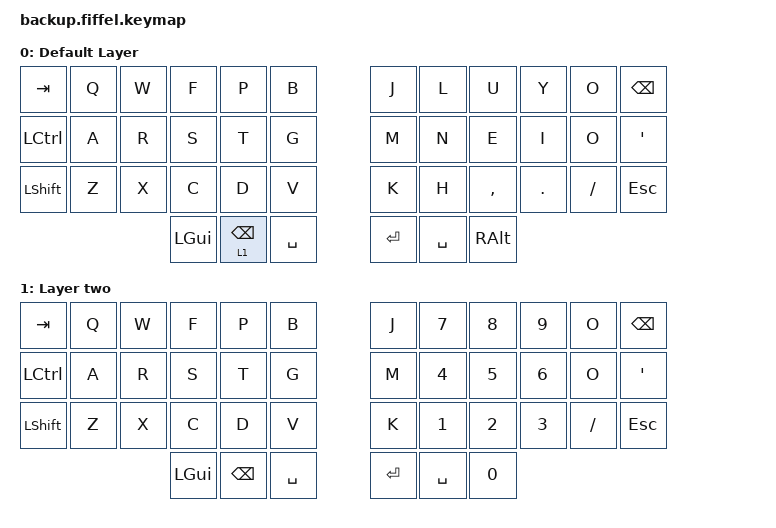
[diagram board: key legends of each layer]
#include <behaviors.dtsi>
#include <dt-bindings/zmk/keys.h>
#include <dt-bindings/zmk/bt.h>

/ {
  combos {
    compatible = "zmk,combos";

    combo_esc {
      timeout-ms = <50>;
      key-positions = <0 1>;
      bindings = <&kp ESC>;
    };

    combo_ret_i_oe {
      timeout-ms = <50>;
      key-positions = <2 3>;
      bindings = <&kp SCLN>;   // 'ö' på svensk layout
    };

    combo_right_shift {
      timeout-ms = <50>;
      key-positions = <15 16>;
      bindings = <&kp RSFT>;   // höger shift
    };
    combo_tick {
      timeout-ms = <50>;
      key-positions = <8 19>;
      bindings = <&kp BSLH>;  
    };
  };
        



  keymap {
    compatible = "zmk,keymap";
    default_layer {
      display-name = "Default Layer";
      // -----------------------------------------------------------------------------------------
      // |  TAB |  Q  |  W  |  E  |  R  |  T  |   |  Y  |  U   |  I  |  O  |  P  | BSPC |
      // | CTRL |  A  |  S  |  D  |  F  |  G  |   |  H  |  J   |  K  |  L  |  ;  |  '   |
      // | SHFT |  Z  |  X  |  C  |  V  |  B  |   |  N  |  M   |  ,  |  .  |  /  | ESC  |
      //                    | GUI | LWR | SPC |   | ENT | RSE  | ALT |
      bindings = <
         &kp TAB   &kp Q &kp W &kp F &kp P &kp B   &kp J &kp L  &kp U     &kp Y   &kp O    &kp BSPC
         &kp LCTRL &kp A &kp R &kp S &kp T &kp G   &kp M &kp N  &kp E     &kp I   &kp O    &kp SQT
         &kp LSHFT &kp Z &kp X &kp C &kp D &kp V   &kp K &kp H  &kp COMMA &kp DOT &kp FSLH &kp ESC
                     &kp LGUI &lt 1 BSPC &kp SPACE   &kp RET &kp SPACE &kp RALT
                      /* &kp LGUI &none &kp SPACE   &kp RET &none &kp RALT */
      >;
    };
    layer_two {
      display-name = "Layer two";
      // -----------------------------------------------------------------------------------------
      // |  TAB |  Q  |  W  |  E  |  R  |  T  |   |  Y  |  U   |  I  |  O  |  P  | BSPC |
      // | CTRL |  A  |  S  |  D  |  F  |  G  |   |  H  |  J   |  K  |  L  |  ;  |  '   |
      // | SHFT |  Z  |  X  |  C  |  V  |  B  |   |  N  |  M   |  ,  |  .  |  /  | ESC  |
      //                    | GUI | LWR | SPC |   | ENT | RSE  | ALT |
      bindings = <
         &kp TAB   &kp Q &kp W &kp F &kp P &kp B   &kp J &kp N7  &kp N8  &kp N9  &kp O    &kp BSPC
         &kp LCTRL &kp A &kp R &kp S &kp T &kp G   &kp M &kp N4  &kp N5  &kp N6  &kp O    &kp SQT
         &kp LSHFT &kp Z &kp X &kp C &kp D &kp V   &kp K &kp N1  &kp N2  &kp N3  &kp FSLH &kp ESC
                     &kp LGUI &kp BSPC &kp SPACE   &kp RET &kp SPACE &kp N0
                      /* &kp LGUI &none &kp SPACE   &kp RET &none &kp RALT */
      >;
    };

  };
};




/*    // Copyright (c) 2022 The ZMK Contributors */
/* // SPDX-License-Identifier: MIT */
/**/
/* #include <behaviors.dtsi> */
/* #include <dt-bindings/zmk/keys.h> */
/* #include <dt-bindings/zmk/bt.h> */
/* // #include <symbols.dtsi> */
/* #include "keys_sv.h" */
/**/
/* // Home row mods macro */
/* #define HRML(k1,k2,k3,k4) &ht LSHFT k1  &ht LALT k2  &ht LCTRL k3  &ht LGUI k4 */
/* #define HRMR(k1,k2,k3,k4) &ht RGUI k1  &ht RCTRL k2  &ht RALT k3  &ht RSHFT k4 */
/**/
/* &lt { */
/*     tapping-term-ms = <150>; */
/* }; */
/**/
/* / { */
/*     behaviors { */
/*         ht: hold_tap { */
/*             compatible = "zmk,behavior-hold-tap"; */
/*             #binding-cells = <2>; */
/*             flavor = "tap-preferred"; */
/*             tapping-term-ms = <220>; */
/*             quick-tap-ms = <150>; */
/*             require-prior-idle-ms = <100>; */
/*             bindings = <&kp>, <&kp>; */
/*         }; */
/*     }; */
/**/
/*     combos { */
/*         compatible = "zmk,combos"; */
/*         combo_esc { */
/*             timeout-ms = <50>; */
/*             key-positions = <10 11>; */
/*             bindings = <&kp ESC>; */
/*         }; */
/*         combo_tab { */
/*             timeout-ms = <50>; */
/*             key-positions = <0 1>; */
/*             bindings = <&kp TAB>; */
/*         }; */
/*         combo_sticky_shift { */
/*             timeout-ms = <50>; */
/*             key-positions = <20 21>; */
/*             bindings = <&sk LSHFT>; */
/*         }; */
/*     }; */
/**/
/**/
/*     keymap { */
/*         compatible = "zmk,keymap"; */
/*         default_layer { */
/*             bindings = < */
/*         //╭──────────┬──────────┬──────────┬──────────┬──────────╮   ╭──────────┬──────────┬──────────┬──────────┬──────────╮ */
/*         //│  Q       │  W       │  E       │  R       │  T       │   │  Y       │  U       │  I       │  O       │  P       │ */
/*             &kp SV_SEMI  &kp COMMA      &kp DOT      &kp P      &kp Y          &kp F      &kp G      &kp C      &kp R      &kp L */
/*         //├──────────┼──────────┼──────────┼──────────┼──────────┤   ├──────────┼──────────┼──────────┼──────────┼──────────┤ */
/*         //│  A       │  S       │  D       │  F       │  G       │   │  H       │  J       │  K       │  L       │ ' "      │ */
/*             &kp A     &kp O    &kp E      &kp U      &kp I          &kp D      &kp H    &kp T      &kp N      &kp S */
/*         //├──────────┼──────────┼──────────┼──────────┼──────────┤   ├──────────┼──────────┼──────────┼──────────┼──────────┤ */
/*         //│  Z       │  X       │  C       │  V       │  B       │   │  N       │  M       │ , <      │ . >      │ / ?      │ */
/*             &kp BSLH      &kp Q      &kp J      &kp K      &kp X          &kp B      &kp M      &kp W  &kp V    &kp Z */
/*         //╰──────────┴──────────┴──────────┼──────────┼──────────┤   ├──────────┼──────────┼──────────┴──────────┴──────────╯ */
/*                                             &lt 1 SPACE   &kp LGUI     &kp ENTER  &lt 2 BSPC */
/*         //                                  ╰──────────┴──────────╯   ╰──────────┴──────────╯ */
/*             >; */
/*         }; */
/**/
/*         right_layer { */
/*             bindings = < */
/*         //╭──────────┬──────────┬──────────┬──────────┬──────────╮   ╭──────────┬──────────┬──────────┬──────────┬──────────╮ */
/*         //│ INSERT   │  1       │  2       │  3       │          │   │ HOME     │ PAGE DN  │ PAGE UP  │ END      │  :       │ */
/*             &kp N1    &kp N2     &kp N3     &kp N4     &kp N5         &kp N6   &kp N7  &kp N8  &kp N9    &kp N0 */
/*         //├──────────┼──────────┼──────────┼──────────┼──────────┤   ├──────────┼──────────┼──────────┼──────────┼──────────┤ */
/*         //│ DELETE   │  4       │  5       │  6       │          │   │ LEFT     │ DOWN     │ UP       │ RIGHT    │  ;       │ */
/*            &kp SV_EXCL &kp SV_LBKT &kp SV_LBRC &kp SV_LPAR &kp SV_AMPS  &kp SV_EQUAL   &kp SV_RPAR   &kp SV_RBRC   &kp SV_RBKT   &kp SV_AT */
/*         //├──────────┼──────────┼──────────┼──────────┼──────────┤   ├──────────┼──────────┼──────────┼──────────┼──────────┤ */
/*         //│ CAPS     │  7       │  8       │  9       │  0       │   │          │          │          │          │          │ */
/*            &kp SV_DQT &kp SV_MINUS &kp SV_PLUS &kp SV_ASTERISK &kp SV_CARET &kp SV_PRCNT &kp SV_DOLLAR &kp SV_HASH &kp SV_PIPE &kp SV_TILDE */
/*         //╰──────────┴──────────┴──────────┼──────────┼──────────┤   ├──────────┼──────────┼──────────┴──────────┴──────────╯ */
/*                                              &none     &kp ESC        &none     &kp DELETE */
/*         //                                 ╰──────────┴──────────╯   ╰──────────┴──────────╯ */
/*             >; */
/*         }; */
/**/
/*         left_layer { */
/*             bindings = < */
/*         //╭──────────┬──────────┬──────────┬──────────┬──────────╮   ╭──────────┬──────────┬──────────┬──────────┬──────────╮ */
/*         //│          │  [       │  {       │  }       │          │   │  ^       │  (       │  )       │  ]       │  ~       │ */
/*             &kp SV_COLON     &kp SV_SEMI   &kp SV_LT   &kp SV_GT   &none         &none  &none   &kp LC(C)   &none   &none */
/*         //├──────────┼──────────┼──────────┼──────────┼──────────┤   ├──────────┼──────────┼──────────┼──────────┼──────────┤ */
/*         //│  !       │  @       │  #       │  $       │  %       │   │  *       │  -       │  =       │  \       │  `       │ */
/*             &kp SV_A_RING &kp SV_O_UMLAUT &kp SV_QMARK &kp SV_SLASH &kp SV_CARET &none &kp LEFT &kp DOWN &kp UP  &kp RIGHT */
/*         //├──────────┼──────────┼──────────┼──────────┼──────────┤   ├──────────┼──────────┼──────────┼──────────┼──────────┤ */
/*         //│          │          │          │          │          │   │  &       │  _       │  +       │  │       │          │ */
/*             &kp SV_A_UMLAUT &kp LC(O) &kp LC(R) &kp SV_BACKSLASH     &kp SV_CARET &none &none &none &none &kp SV_UNDERSCORE */
/*         //╰──────────┴──────────┴──────────┼──────────┼──────────┤   ├──────────┼──────────┼──────────┴──────────┴──────────╯ */
/*                                              &mo 3     &none         &none     &none */
/*         //                                 ╰──────────┴──────────╯   ╰──────────┴──────────╯ */
/*             >; */
/*         }; */
/**/
/*         reset_layer { */
/*             bindings = < */
/*         //╭──────────┬──────────┬──────────┬──────────┬──────────╮   ╭──────────┬──────────┬──────────┬──────────┬──────────╮ */
/*         //│          │  [       │  {       │  }       │          │   │  ^       │  (       │  )       │  ]       │  ~       │ */
/*             &bootloader     &none   &none   &none   &none         &none  &none   &none   &none   &none */
/*         //├──────────┼──────────┼──────────┼──────────┼──────────┤   ├──────────┼──────────┼──────────┼──────────┼──────────┤ */
/*         //│  !       │  @       │  #       │  $       │  %       │   │  *       │  -       │  =       │  \       │  `       │ */
/*             &none &none &none &none &none &none &none &none &none  &none */
/*         //├──────────┼──────────┼──────────┼──────────┼──────────┤   ├──────────┼──────────┼──────────┼──────────┼──────────┤ */
/*         //│          │          │          │          │          │   │  &       │  _       │  +       │  │       │          │ */
/*             &none &none &none &none     &none &none &none &none &none &none */
/*         //╰──────────┴──────────┴──────────┼──────────┼──────────┤   ├──────────┼──────────┼──────────┴──────────┴──────────╯ */
/*                                              &none     &none         &none     &none */
/*         //                                 ╰──────────┴──────────╯   ╰──────────┴──────────╯ */
/*             >; */
/*         }; */
/*     }; */
/* };  */
